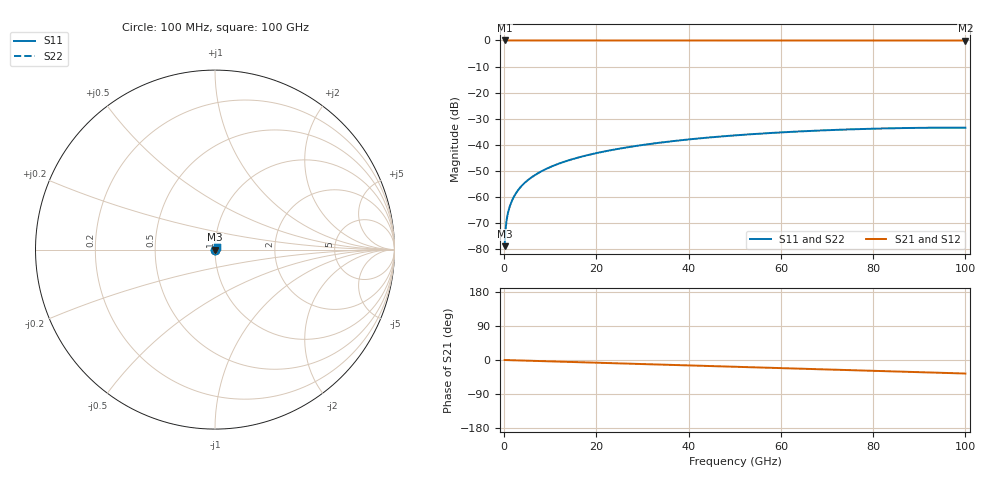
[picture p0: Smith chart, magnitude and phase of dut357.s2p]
! Touchstone file exported from HFSS 2026.1.0
!  File:  C:/ffzhzh/LocalFiles/Ansys_Project_Files/temp_train_TSV_357_1783510108_44152.aedt
!  Generated:  07:29:39 PM Jul  8, 2026
!  Design:  TSV
!  Project:  temp_train_TSV_357_1783510108_44152
! Variables:
!  h_bsmrdl = 2um
!  h_ox = 20um
!  h_rdl = 5um
!  h_sub = 68.38um
!  h_tmrdl = 5um
!  h_tsv = 68.38um
!  h_via = 3um
!  l_bsmrdl = 300um
!  l_sub = 423.54um
!  l_tmrdl = 200um
!  m_sub = 200um
!  pitch = 49.81um
!  r_tsv = 11.77um
!  s_tmrdl = 10um
!  w_bsmrdl = 18um
!  w_sub = 500um
!  w_tmrdl = 12um
!  x_tsv_center1 = 206um
!  x_tsv_center2 = 524um
!  x_tsv_center3 = 736um
!  x_tsv_center4 = 1054um
!  x_tsv_center5 = 1266um
!  x_tsv_center6 = 1584um
# GHz S MA R 50.000000
! Terminal data exported
! Port[1] = TSV1_1_T1
! Port[2] = TSV1_1_T2
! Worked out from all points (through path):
!   1000 points, 100 MHz to 100 GHz, reference 50 ohm
!   highest |S21| = 0.00 dB at 100 MHz (marker M1); lowest = 0.0 dB at 100 GHz (marker M2)
!   group delay of S21, straight-line fit = 990 fs
!   lowest |S11| = -78.9 dB at 100 MHz (marker M3), VSWR 1.00, Z = 50 + j0.00702 ohm
!   |S11| at or under -10 dB: start of sweep to end of sweep
!   |S22| runs from -78.9 to -33.5 dB; largest |S21 - S12| = 2.1e-15
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0.1  0.0001131 38.4  0.9999 -0.0  0.9999 -0.0  0.0001131 38.4
! Gamma 0 0 0 0
! Port Impedance 50 0 50 0
0.4  0.0002869 61.7  0.9999 -0.1  0.9999 -0.1  0.0002869 61.7
0.7  0.0004352 64.5  0.9998 -0.3  0.9998 -0.3  0.0004352 64.5
0.8  0.0004794 65.1  0.9998 -0.3  0.9998 -0.3  0.0004794 65.1
1  0.0005637 66.3  0.9998 -0.4  0.9998 -0.4  0.0005637 66.3
1.3  0.0006854 67.8  0.9997 -0.5  0.9997 -0.5  0.0006854 67.8
1.8  0.0008825 69.8  0.9997 -0.7  0.9997 -0.7  0.0008825 69.8
2.4  0.001112 71.3  0.9997 -0.9  0.9997 -0.9  0.001112 71.3
3.1  0.001372 72.4  0.9996 -1.1  0.9996 -1.1  0.001372 72.4
3.9  0.001659 73.2  0.9996 -1.4  0.9996 -1.4  0.001659 73.2
4.9  0.002009 74.0  0.9995 -1.8  0.9995 -1.8  0.002009 74.0
6.1  0.00242 74.7  0.9994 -2.2  0.9994 -2.2  0.00242 74.7
8.9  0.003362 75.4  0.9993 -3.2  0.9993 -3.2  0.003362 75.4
12.5  0.004542 75.4  0.9992 -4.5  0.9992 -4.5  0.004542 75.3
16.8  0.005905 74.9  0.9991 -6.0  0.9991 -6.0  0.005906 74.9
24.3  0.0082 73.6  0.9988 -8.7  0.9988 -8.7  0.008201 73.5
33.4  0.01084 71.3  0.9986 -11.9  0.9986 -11.9  0.01084 71.2
41.3  0.01296 69.0  0.9984 -14.7  0.9984 -14.7  0.01297 68.9
50.1  0.01511 66.3  0.9983 -17.8  0.9983 -17.8  0.01512 66.2
66.7  0.01844 60.9  0.9979 -23.7  0.9979 -23.7  0.01845 60.7
83.4  0.02061 55.2  0.9976 -29.7  0.9976 -29.7  0.02062 54.9
100  0.02118 49.5  0.9973 -35.7  0.9973 -35.7  0.02119 49.1
